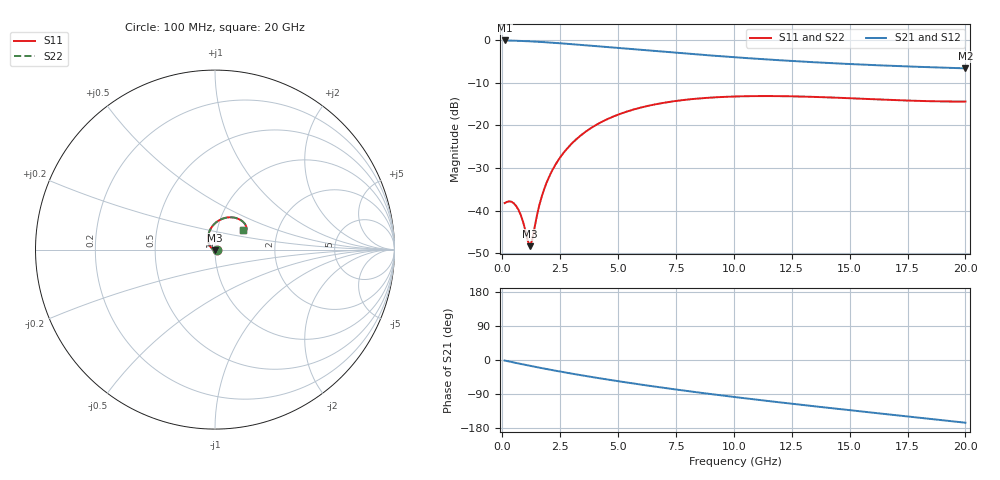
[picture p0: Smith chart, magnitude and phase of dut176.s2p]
! Touchstone file exported from HFSS 2024.1.0
!  File:  C:/UserFiles/LocalFiles/RDL_TSV_Batchsim/temp_RDL_TSV_176_1779437744.aedt
!  Generated:  04:30:35 PM May 22, 2026
!  Design:  RDL_TSV
!  Project:  temp_RDL_TSV_176_1779437744
!  Setup:  Setup1
!  Solution:  Sweep
! Variables:
!  dtsv = 5.86um
!  hbump = 3um
!  htsv = 79.76um
!  ldown = 629.01um
!  lrdl = 112.7um
!  p = 40
!  p1 = 40.64um
!  rhole = 10um
!  subl = 2337.83um
!  t = 450um
!  tdown = 2.81um
!  trdl = 4.61um
!  viad = 10um
!  wdown = 29.58um
!  wrdl = 16.41um
!  xbump = 18um
# GHz S MA R 50.000000
! Terminal data exported
! Port[1] = TM1_1_T1
! Port[2] = TM1_4_T1
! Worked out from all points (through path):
!   200 points, 100 MHz to 20 GHz, reference 50 ohm
!   highest |S21| = -0.11 dB at 100 MHz (marker M1); lowest = -6.7 dB at 20 GHz (marker M2)
!   group delay of S21, straight-line fit = 22 ps
!   lowest |S11| = -48.4 dB at 1.2 GHz (marker M3), VSWR 1.01, Z = 49.9 - j0.366 ohm
!   |S11| at or under -10 dB: start of sweep to end of sweep
!   |S22| runs from -48.4 to -13.2 dB; largest |S21 - S12| = 9.9e-15
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0.1  0.01221 1.1  0.9875 -1.4  0.9875 -1.4  0.01221 1.1
! Gamma 0 0 0 0
! Port Impedance 50 0 50 0
0.4  0.01266 -6.6  0.983 -5.3  0.983 -5.3  0.01266 -6.6
0.7  0.01017 -22.1  0.9773 -9.1  0.9773 -9.1  0.01017 -22.1
0.9  0.007338 -37.8  0.9727 -11.6  0.9727 -11.6  0.007342 -37.8
1.1  0.004422 -72.1  0.9673 -14.1  0.9673 -14.1  0.004427 -72.1
1.2  0.003818 -106.3  0.9644 -15.4  0.9644 -15.4  0.003823 -106.3
1.3  0.004593 -141.7  0.9613 -16.6  0.9613 -16.6  0.004595 -141.6
1.5  0.00885 -177.6  0.9546 -19.0  0.9546 -19.0  0.008848 -177.5
1.7  0.01448 167.3  0.9475 -21.4  0.9475 -21.4  0.01448 167.3
1.9  0.02078 157.9  0.9398 -23.7  0.9398 -23.7  0.02077 157.9
2.1  0.02753 150.8  0.9318 -26.0  0.9318 -26.0  0.02752 150.9
2.4  0.03827 142.2  0.9194 -29.4  0.9194 -29.4  0.03826 142.2
2.7  0.04949 134.9  0.9065 -32.7  0.9065 -32.7  0.04949 134.9
3.5  0.08019 118.8  0.8713 -41.2  0.8713 -41.2  0.08018 118.8
4.1  0.1026 108.7  0.8449 -47.2  0.8449 -47.2  0.1026 108.7
4.9  0.13 97.0  0.8106 -54.9  0.8106 -54.9  0.13 97.0
6.8  0.18 74.9  0.7344 -72.0  0.7344 -72.0  0.18 75.0
8.3  0.2039 61.8  0.6809 -84.4  0.6809 -84.4  0.2039 61.8
10.1  0.2177 49.6  0.6258 -98.2  0.6258 -98.2  0.2177 49.7
13.4  0.2154 35.7  0.5496 -121.6  0.5496 -121.6  0.2153 35.8
16.7  0.1985 31.1  0.4991 -143.7  0.4991 -143.7  0.1984 31.2
20  0.1896 34.4  0.465 -165.5  0.465 -165.5  0.1896 34.6
